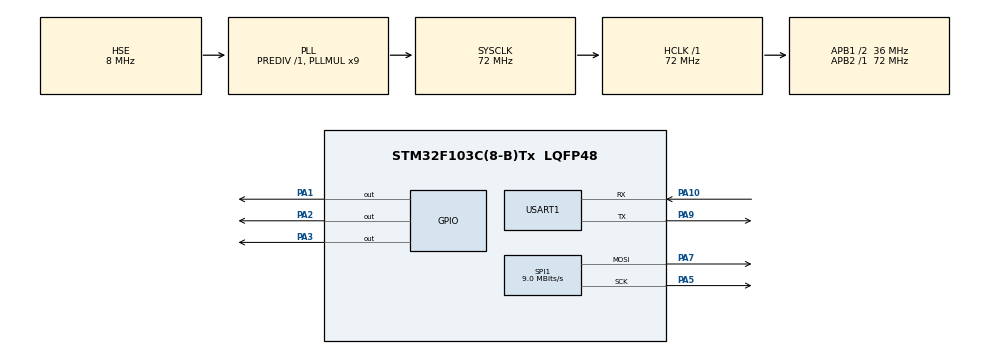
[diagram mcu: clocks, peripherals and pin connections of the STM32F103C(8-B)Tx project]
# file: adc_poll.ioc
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ADC1.Channel-0\#ChannelRegularConversion=ADC_CHANNEL_TEMPSENSOR
ADC1.ContinuousConvMode=ENABLE
ADC1.NbrOfConversionFlag=1
ADC1.Rank-0\#ChannelRegularConversion=1
ADC1.SamplingTime-0\#ChannelRegularConversion=ADC_SAMPLETIME_239CYCLES_5
ADC1.master=1
Dma.Request0=SPI1_TX
Dma.SPI1_TX.0.Direction=DMA_MEMORY_TO_PERIPH
Dma.SPI1_TX.0.Instance=DMA1_Channel3
Dma.SPI1_TX.0.MemDataAlignment=DMA_MDATAALIGN_BYTE
Dma.SPI1_TX.0.MemInc=DMA_MINC_ENABLE
Dma.SPI1_TX.0.Mode=DMA_NORMAL
Dma.SPI1_TX.0.PeriphDataAlignment=DMA_PDATAALIGN_BYTE
Dma.SPI1_TX.0.PeriphInc=DMA_PINC_DISABLE
Dma.SPI1_TX.0.Priority=DMA_PRIORITY_LOW
Mcu.Family=STM32F1
Mcu.Name=STM32F103C(8-B)Tx
Mcu.Package=LQFP48
NVIC.DMA1_Channel3_IRQn=true\:0\:0\:false\:false\:true\:false\:true\:true
NVIC.PriorityGroup=NVIC_PRIORITYGROUP_4
NVIC.USART1_IRQn=true\:0\:0\:false\:false\:true\:true\:true\:true
PA1.Signal=GPIO_Output
PA10.Mode=Asynchronous
PA10.Signal=USART1_RX
PA13.Mode=Serial_Wire
PA13.Signal=SYS_JTMS-SWDIO
PA14.Mode=Serial_Wire
PA14.Signal=SYS_JTCK-SWCLK
PA2.Signal=GPIO_Output
PA3.Signal=GPIO_Output
PA5.Mode=TX_Only_Simplex_Unidirect_Master
PA5.Signal=SPI1_SCK
PA7.Mode=TX_Only_Simplex_Unidirect_Master
PA7.Signal=SPI1_MOSI
PA9.Mode=Asynchronous
PA9.Signal=USART1_TX
PD0-OSC_IN.Mode=HSE-External-Oscillator
PD0-OSC_IN.Signal=RCC_OSC_IN
PD1-OSC_OUT.Mode=HSE-External-Oscillator
PD1-OSC_OUT.Signal=RCC_OSC_OUT
ProjectManager.HeapSize=0x3000
ProjectManager.StackSize=0x1000
ProjectManager.TargetToolchain=STM32CubeIDE
RCC.ADCPresc=RCC_ADCPCLK2_DIV6
RCC.AHBFreq_Value=72000000
RCC.APB1CLKDivider=RCC_HCLK_DIV2
RCC.APB1Freq_Value=36000000
RCC.APB1TimFreq_Value=72000000
RCC.APB2Freq_Value=72000000
RCC.APB2TimFreq_Value=72000000
RCC.HCLKFreq_Value=72000000
RCC.PLLMUL=RCC_PLL_MUL9
RCC.PLLSourceVirtual=RCC_PLLSOURCE_HSE
RCC.SYSCLKFreq_VALUE=72000000
RCC.SYSCLKSource=RCC_SYSCLKSOURCE_PLLCLK
RCC.USBFreq_Value=72000000
SPI1.BaudRatePrescaler=SPI_BAUDRATEPRESCALER_8
SPI1.CLKPhase=SPI_PHASE_2EDGE
SPI1.CLKPolarity=SPI_POLARITY_HIGH
SPI1.CalculateBaudRate=9.0 MBits/s
SPI1.Direction=SPI_DIRECTION_2LINES
SPI1.Mode=SPI_MODE_MASTER
SPI1.VirtualType=VM_MASTER
USART1.VirtualMode=VM_ASYNC
VP_ADC1_TempSens_Input.Mode=IN-TempSens
board=custom

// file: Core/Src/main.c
/* USER CODE BEGIN Header */
/**
  ******************************************************************************
  * @file           : main.c
  * @brief          : Main program body
  ******************************************************************************
  * @attention
  *
  * Copyright (c) 2025 STMicroelectronics.
  * All rights reserved.
  *
  * This software is licensed under terms that can be found in the LICENSE file
  * in the root directory of this software component.
  * If no LICENSE file comes with this software, it is provided AS-IS.
  *
  ******************************************************************************
  */
/* USER CODE END Header */
#include "main.h"

/* USER CODE BEGIN Includes */
#include <stdio.h>
#include <string.h>
#include <stdbool.h>
#include <stdlib.h>

#include "st7789.h"
#include "fonts.h"
/* USER CODE END Includes */

ADC_HandleTypeDef hadc1;

SPI_HandleTypeDef hspi1;
DMA_HandleTypeDef hdma_spi1_tx;

UART_HandleTypeDef huart1;

void SystemClock_Config(void);
static void MX_GPIO_Init(void);
static void MX_DMA_Init(void);
static void MX_ADC1_Init(void);
static void MX_USART1_UART_Init(void);
static void MX_SPI1_Init(void);

int main(void)
{

  /* MCU Configuration--------------------------------------------------------*/

  /* Reset of all peripherals, Initializes the Flash interface and the Systick. */
  HAL_Init();

  /* Configure the system clock */
  SystemClock_Config();

  /* Initialize all configured peripherals */
  MX_GPIO_Init();
  MX_DMA_Init();
  MX_ADC1_Init();
  MX_USART1_UART_Init();
  MX_SPI1_Init();
  /* USER CODE BEGIN 2 */
  ST7789_Init();

  HAL_GPIO_WritePin(GPIOA, GPIO_PIN_3, GPIO_PIN_SET);
  /* USER CODE END 2 */

  /* Infinite loop */
  /* USER CODE BEGIN WHILE */
  HAL_ADC_Start(&hadc1);
  ST7789_Fill_Color(BLACK);
  while (1)
  {
	  char msg[128];
	  uint16_t rawValue;
	  float temp;

	  HAL_ADC_PollForConversion(&hadc1, HAL_MAX_DELAY);

	  rawValue = HAL_ADC_GetValue(&hadc1);
	  temp = ((float)rawValue) / 4095 * 3300;
	  temp = ((temp - 760.0) / 2.5) + 25;

	  sprintf(msg, "rawValue: %hu\r\n", rawValue);
	  HAL_UART_Transmit(&huart1, (uint8_t*) msg, strlen(msg), HAL_MAX_DELAY);
	  ST7789_WriteString(10, 10, msg, Font_11x18, GBLUE, BLACK);
	  sprintf(msg, "Temperature: %f\r\n", temp);
	  HAL_UART_Transmit(&huart1, (uint8_t*) msg, strlen(msg), HAL_MAX_DELAY);
	  ST7789_WriteString(10, 25, msg, Font_11x18, YELLOW, BLACK);
	  HAL_Delay(1000);
    /* USER CODE END WHILE */

  }
}

void SystemClock_Config(void)
{
  RCC_OscInitTypeDef RCC_OscInitStruct = {0};
  RCC_ClkInitTypeDef RCC_ClkInitStruct = {0};
  RCC_PeriphCLKInitTypeDef PeriphClkInit = {0};

  /** Initializes the RCC Oscillators according to the specified parameters
  * in the RCC_OscInitTypeDef structure.
  */
  RCC_OscInitStruct.OscillatorType = RCC_OSCILLATORTYPE_HSE;
  RCC_OscInitStruct.HSEState = RCC_HSE_ON;
  RCC_OscInitStruct.HSEPredivValue = RCC_HSE_PREDIV_DIV1;
  RCC_OscInitStruct.HSIState = RCC_HSI_ON;
  RCC_OscInitStruct.PLL.PLLState = RCC_PLL_ON;
  RCC_OscInitStruct.PLL.PLLSource = RCC_PLLSOURCE_HSE;
  RCC_OscInitStruct.PLL.PLLMUL = RCC_PLL_MUL9;
  if (HAL_RCC_OscConfig(&RCC_OscInitStruct) != HAL_OK)
  {
    Error_Handler();
  }

  /** Initializes the CPU, AHB and APB buses clocks
  */
  RCC_ClkInitStruct.ClockType = RCC_CLOCKTYPE_HCLK|RCC_CLOCKTYPE_SYSCLK
                              |RCC_CLOCKTYPE_PCLK1|RCC_CLOCKTYPE_PCLK2;
  RCC_ClkInitStruct.SYSCLKSource = RCC_SYSCLKSOURCE_PLLCLK;
  RCC_ClkInitStruct.AHBCLKDivider = RCC_SYSCLK_DIV1;
  RCC_ClkInitStruct.APB1CLKDivider = RCC_HCLK_DIV2;
  RCC_ClkInitStruct.APB2CLKDivider = RCC_HCLK_DIV1;

  if (HAL_RCC_ClockConfig(&RCC_ClkInitStruct, FLASH_LATENCY_2) != HAL_OK)
  {
    Error_Handler();
  }
  PeriphClkInit.PeriphClockSelection = RCC_PERIPHCLK_ADC;
  PeriphClkInit.AdcClockSelection = RCC_ADCPCLK2_DIV6;
  if (HAL_RCCEx_PeriphCLKConfig(&PeriphClkInit) != HAL_OK)
  {
    Error_Handler();
  }
}

static void MX_ADC1_Init(void)
{

  ADC_ChannelConfTypeDef sConfig = {0};

  /** Common config
  */
  hadc1.Instance = ADC1;
  hadc1.Init.ScanConvMode = ADC_SCAN_DISABLE;
  hadc1.Init.ContinuousConvMode = ENABLE;
  hadc1.Init.DiscontinuousConvMode = DISABLE;
  hadc1.Init.ExternalTrigConv = ADC_SOFTWARE_START;
  hadc1.Init.DataAlign = ADC_DATAALIGN_RIGHT;
  hadc1.Init.NbrOfConversion = 1;
  if (HAL_ADC_Init(&hadc1) != HAL_OK)
  {
    Error_Handler();
  }

  /** Configure Regular Channel
  */
  sConfig.Channel = ADC_CHANNEL_TEMPSENSOR;
  sConfig.Rank = ADC_REGULAR_RANK_1;
  sConfig.SamplingTime = ADC_SAMPLETIME_239CYCLES_5;
  if (HAL_ADC_ConfigChannel(&hadc1, &sConfig) != HAL_OK)
  {
    Error_Handler();
  }

}

static void MX_SPI1_Init(void)
{

  /* SPI1 parameter configuration*/
  hspi1.Instance = SPI1;
  hspi1.Init.Mode = SPI_MODE_MASTER;
  hspi1.Init.Direction = SPI_DIRECTION_2LINES;
  hspi1.Init.DataSize = SPI_DATASIZE_8BIT;
  hspi1.Init.CLKPolarity = SPI_POLARITY_HIGH;
  hspi1.Init.CLKPhase = SPI_PHASE_2EDGE;
  hspi1.Init.NSS = SPI_NSS_SOFT;
  hspi1.Init.BaudRatePrescaler = SPI_BAUDRATEPRESCALER_8;
  hspi1.Init.FirstBit = SPI_FIRSTBIT_MSB;
  hspi1.Init.TIMode = SPI_TIMODE_DISABLE;
  hspi1.Init.CRCCalculation = SPI_CRCCALCULATION_DISABLE;
  hspi1.Init.CRCPolynomial = 10;
  if (HAL_SPI_Init(&hspi1) != HAL_OK)
  {
    Error_Handler();
  }

}

static void MX_USART1_UART_Init(void)
{

  huart1.Instance = USART1;
  huart1.Init.BaudRate = 115200;
  huart1.Init.WordLength = UART_WORDLENGTH_8B;
  huart1.Init.StopBits = UART_STOPBITS_1;
  huart1.Init.Parity = UART_PARITY_NONE;
  huart1.Init.Mode = UART_MODE_TX_RX;
  huart1.Init.HwFlowCtl = UART_HWCONTROL_NONE;
  huart1.Init.OverSampling = UART_OVERSAMPLING_16;
  if (HAL_UART_Init(&huart1) != HAL_OK)
  {
    Error_Handler();
  }

}

static void MX_DMA_Init(void)
{

  /* DMA controller clock enable */
  __HAL_RCC_DMA1_CLK_ENABLE();

  /* DMA interrupt init */
  /* DMA1_Channel3_IRQn interrupt configuration */
  HAL_NVIC_SetPriority(DMA1_Channel3_IRQn, 0, 0);
  HAL_NVIC_EnableIRQ(DMA1_Channel3_IRQn);

}

static void MX_GPIO_Init(void)
{
  GPIO_InitTypeDef GPIO_InitStruct = {0};

  /* GPIO Ports Clock Enable */
  __HAL_RCC_GPIOD_CLK_ENABLE();
  __HAL_RCC_GPIOA_CLK_ENABLE();

  /*Configure GPIO pin Output Level */
  HAL_GPIO_WritePin(GPIOA, GPIO_PIN_1|GPIO_PIN_2|GPIO_PIN_3, GPIO_PIN_RESET);

  /*Configure GPIO pins : PA1 PA2 PA3 */
  GPIO_InitStruct.Pin = GPIO_PIN_1|GPIO_PIN_2|GPIO_PIN_3;
  GPIO_InitStruct.Mode = GPIO_MODE_OUTPUT_PP;
  GPIO_InitStruct.Pull = GPIO_NOPULL;
  GPIO_InitStruct.Speed = GPIO_SPEED_FREQ_LOW;
  HAL_GPIO_Init(GPIOA, &GPIO_InitStruct);

}

void Error_Handler(void)
{
  __disable_irq();
  while (1)
  {
  }
}
